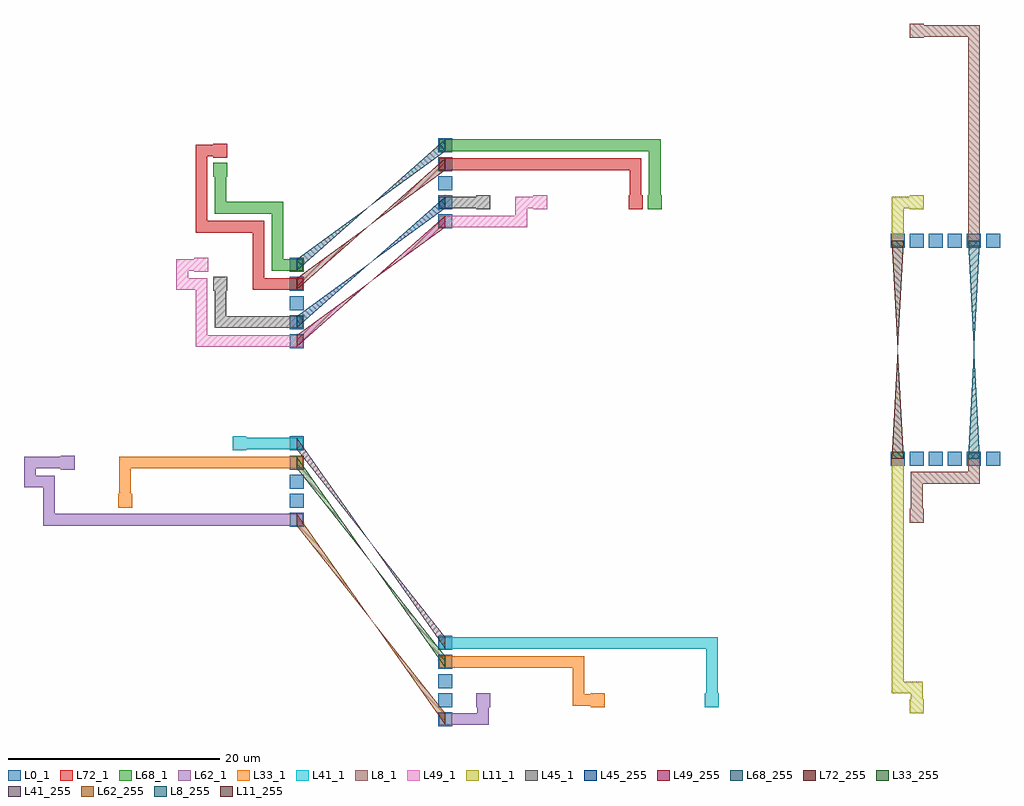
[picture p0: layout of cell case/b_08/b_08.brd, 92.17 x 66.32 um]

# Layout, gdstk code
import gdstk
lib = gdstk.Library(unit=1e-6, precision=2.5e-10)
def R(c, l, rs):  # rectangles x0, y0, x1, y1
    for r in rs: c.add(gdstk.rectangle(r[:2], r[2:], *l))
def A(c, l, x, y, w, h, nx, ny, dx, dy):  # array of equal rectangles
    R(c, l, [(x+i*dx, y+j*dy, x+i*dx+w, y+j*dy+h) for i in range(nx) for j in range(ny)])
def P(c, l, *ps):  # polygons
    for p in ps: c.add(gdstk.Polygon(p, *l))
L0_1 = (0, 1)
L8_1 = (8, 1)
L8_255 = (8, 255)
L11_1 = (11, 1)
L11_255 = (11, 255)
L33_1 = (33, 1)
L33_255 = (33, 255)
L41_1 = (41, 1)
L41_255 = (41, 255)
L45_1 = (45, 1)
L45_255 = (45, 255)
L49_1 = (49, 1)
L49_255 = (49, 255)
L62_1 = (62, 1)
L62_255 = (62, 255)
L68_1 = (68, 1)
L68_255 = (68, 255)
L72_1 = (72, 1)
L72_255 = (72, 255)

case_b_08_b_08_brd = lib.new_cell('case/b_08/b_08.brd')
R(case_b_08_b_08_brd, L0_1, [(382.811,215.92,384.131,217.24), (382.811,215.92,384.131,217.24), (382.811,215.92,384.131,217.24), (382.811,217.72,384.131,219.04), (382.811,217.72,384.131,219.04), (382.811,217.72,384.131,219.04), (382.811,219.52,384.131,220.84), (382.811,219.52,384.131,220.84), (382.811,219.52,384.131,220.84), (382.811,221.32,384.131,222.64), (382.811,221.32,384.131,222.64), (382.811,221.32,384.131,222.64), (382.811,223.12,384.131,224.44), (382.811,223.12,384.131,224.44), (382.811,223.12,384.131,224.44), (368.8,234.755,370.12,236.075), (368.8,234.755,370.12,236.075), (368.8,234.755,370.12,236.075), (368.8,236.555,370.12,237.875), (368.8,236.555,370.12,237.875), (368.8,236.555,370.12,237.875), (368.8,238.355,370.12,239.675), (368.8,238.355,370.12,239.675), (368.8,238.355,370.12,239.675), (368.8,240.155,370.12,241.475), (368.8,240.155,370.12,241.475), (368.8,240.155,370.12,241.475), (425.556,240.518,426.876,241.838), (425.556,240.518,426.876,241.838), (427.356,240.518,428.676,241.838), (427.356,240.518,428.676,241.838), (429.156,240.518,430.476,241.838), (429.156,240.518,430.476,241.838), (430.956,240.518,432.276,241.838), (430.956,240.518,432.276,241.838), (432.756,240.518,434.076,241.838), (432.756,240.518,434.076,241.838), (434.556,240.518,435.876,241.838), (434.556,240.518,435.876,241.838), (368.8,241.955,370.12,243.275), (368.8,241.955,370.12,243.275), (368.8,241.955,370.12,243.275), (368.8,251.616,370.12,252.936), (368.8,251.616,370.12,252.936), (368.8,251.616,370.12,252.936), (368.8,251.616,370.12,252.936), (368.8,253.416,370.12,254.736), (368.8,253.416,370.12,254.736), (368.8,253.416,370.12,254.736), (368.8,253.416,370.12,254.736), (368.8,255.216,370.12,256.536), (368.8,255.216,370.12,256.536), (368.8,255.216,370.12,256.536), (368.8,255.216,370.12,256.536), (368.8,257.016,370.12,258.336), (368.8,257.016,370.12,258.336), (368.8,257.016,370.12,258.336), (368.8,257.016,370.12,258.336), (368.8,258.816,370.12,260.136), (368.8,258.816,370.12,260.136), (368.8,258.816,370.12,260.136), (368.8,258.816,370.12,260.136), (425.556,261.12,426.876,262.44), (425.556,261.12,426.876,262.44), (427.356,261.12,428.676,262.44), (427.356,261.12,428.676,262.44), (429.156,261.12,430.476,262.44), (429.156,261.12,430.476,262.44), (430.956,261.12,432.276,262.44), (430.956,261.12,432.276,262.44), (432.756,261.12,434.076,262.44), (432.756,261.12,434.076,262.44), (434.556,261.12,435.876,262.44), (434.556,261.12,435.876,262.44), (382.811,262.92,384.131,264.24), (382.811,262.92,384.131,264.24), (382.811,262.92,384.131,264.24), (382.811,262.92,384.131,264.24), (382.811,264.72,384.131,266.04), (382.811,264.72,384.131,266.04), (382.811,264.72,384.131,266.04), (382.811,264.72,384.131,266.04), (382.811,266.52,384.131,267.84), (382.811,266.52,384.131,267.84), (382.811,266.52,384.131,267.84), (382.811,266.52,384.131,267.84), (382.811,268.32,384.131,269.64), (382.811,268.32,384.131,269.64), (382.811,268.32,384.131,269.64), (382.811,268.32,384.131,269.64), (382.811,270.12,384.131,271.44), (382.811,270.12,384.131,271.44), (382.811,270.12,384.131,271.44), (382.811,270.12,384.131,271.44)])
A(case_b_08_b_08_brd, L8_1, 427.466, 238.828, 2.9, 1.1, 3, 2, 1.8, 42.202)
A(case_b_08_b_08_brd, L8_1, 432.866, 261.23, 1.1, 2.9, 1, 11, 0, 1.8)
R(case_b_08_b_08_brd, L8_1, [(427.356,235.118,428.676,236.438), (427.466,235.228,428.566,238.128), (427.466,237.028,428.566,239.928), (432.866,238.828,433.966,241.728), (427.356,280.92,428.676,282.24)])
P(case_b_08_b_08_brd, L8_255, [(432.866,261.78),(433.966,261.78),(432.866,241.178),(433.966,241.178)])
A(case_b_08_b_08_brd, L11_1, 425.666, 219.028, 1.1, 2.9, 1, 12, 0, 1.8)
R(case_b_08_b_08_brd, L11_1, [(427.356,217.118,428.676,218.438), (427.466,217.228,428.566,220.128), (425.666,219.028,428.566,220.128), (425.666,261.23,426.766,264.13), (425.666,263.03,426.766,265.93), (427.356,264.72,428.676,266.04), (425.666,264.83,428.566,265.93)])
P(case_b_08_b_08_brd, L11_255, [(425.666,261.78),(426.766,261.78),(425.666,241.178),(426.766,241.178)])
A(case_b_08_b_08_brd, L33_1, 382.921, 221.43, 2.9, 1.1, 7, 1, 1.8, 0)
A(case_b_08_b_08_brd, L33_1, 352.71, 240.265, 2.9, 1.1, 9, 1, 1.8, 0)
R(case_b_08_b_08_brd, L33_1, [(397.211,217.72,398.531,219.04), (395.521,217.83,398.421,218.93), (395.521,217.83,396.621,220.73), (395.521,219.63,396.621,222.53), (352.6,236.555,353.92,237.875), (352.71,236.665,353.81,239.565), (352.71,238.465,353.81,241.365)])
P(case_b_08_b_08_brd, L33_255, [(383.471,221.43),(383.471,222.53),(369.46,240.265),(369.46,241.365)])
A(case_b_08_b_08_brd, L41_1, 408.121, 217.83, 1.1, 2.9, 1, 3, 0, 1.8)
A(case_b_08_b_08_brd, L41_1, 382.921, 223.23, 2.9, 1.1, 14, 1, 1.8, 0)
A(case_b_08_b_08_brd, L41_1, 363.51, 242.065, 2.9, 1.1, 3, 1, 1.8, 0)
R(case_b_08_b_08_brd, L41_1, [(408.011,217.72,409.331,219.04), (363.4,241.955,364.72,243.275)])
P(case_b_08_b_08_brd, L41_255, [(383.471,223.23),(383.471,224.33),(369.46,242.065),(369.46,243.165)])
A(case_b_08_b_08_brd, L45_1, 361.71, 253.526, 2.9, 1.1, 4, 1, 1.8, 0)
R(case_b_08_b_08_brd, L45_1, [(361.71,253.526,362.81,256.426), (361.71,255.326,362.81,258.226), (361.6,257.016,362.92,258.336), (386.411,264.72,387.731,266.04), (382.921,264.83,385.821,265.93), (384.721,264.83,387.621,265.93)])
P(case_b_08_b_08_brd, L45_255, [(383.471,264.83),(383.471,265.93),(369.46,253.526),(369.46,254.626)])
A(case_b_08_b_08_brd, L49_1, 359.91, 251.726, 2.9, 1.1, 5, 1, 1.8, 0)
A(case_b_08_b_08_brd, L49_1, 359.91, 251.726, 1.1, 2.9, 1, 3, 0, 1.8)
A(case_b_08_b_08_brd, L49_1, 382.921, 263.03, 2.9, 1.1, 4, 1, 1.8, 0)
R(case_b_08_b_08_brd, L49_1, [(358.11,257.126,361.01,258.226), (358.11,257.126,359.21,260.026), (359.8,258.816,361.12,260.136), (358.11,258.926,361.01,260.026), (390.121,263.03,391.221,265.93), (391.811,264.72,393.131,266.04), (390.121,264.83,393.021,265.93)])
P(case_b_08_b_08_brd, L49_255, [(383.471,263.03),(383.471,264.13),(369.46,251.726),(369.46,252.826)])
A(case_b_08_b_08_brd, L62_1, 345.51, 234.865, 2.9, 1.1, 13, 1, 1.8, 0)
R(case_b_08_b_08_brd, L62_1, [(382.921,216.03,385.821,217.13), (384.721,216.03,387.621,217.13), (386.521,216.03,387.621,218.93), (386.411,217.72,387.731,219.04), (345.51,234.865,346.61,237.765), (345.51,236.665,346.61,239.565), (343.71,238.465,346.61,239.565), (343.71,238.465,344.81,241.365), (347.2,240.155,348.52,241.475), (343.71,240.265,346.61,241.365), (345.51,240.265,348.41,241.365)])
P(case_b_08_b_08_brd, L62_255, [(383.471,216.03),(383.471,217.13),(369.46,234.865),(369.46,235.965)])
A(case_b_08_b_08_brd, L68_1, 367.11, 258.926, 1.1, 2.9, 1, 3, 0, 1.8)
A(case_b_08_b_08_brd, L68_1, 361.71, 264.326, 2.9, 1.1, 3, 1, 1.8, 0)
A(case_b_08_b_08_brd, L68_1, 402.721, 264.83, 1.1, 2.9, 1, 3, 0, 1.8)
A(case_b_08_b_08_brd, L68_1, 382.921, 270.23, 2.9, 1.1, 11, 1, 1.8, 0)
R(case_b_08_b_08_brd, L68_1, [(367.11,258.926,370.01,260.026), (361.71,264.326,362.81,267.226), (402.611,264.72,403.931,266.04), (361.71,266.126,362.81,269.026), (361.6,267.816,362.92,269.136)])
P(case_b_08_b_08_brd, L68_255, [(383.471,270.23),(383.471,271.33),(369.46,258.926),(369.46,260.026)])
A(case_b_08_b_08_brd, L72_1, 365.31, 257.126, 1.1, 2.9, 1, 3, 0, 1.8)
A(case_b_08_b_08_brd, L72_1, 359.91, 262.526, 2.9, 1.1, 3, 1, 1.8, 0)
A(case_b_08_b_08_brd, L72_1, 359.91, 262.526, 1.1, 2.9, 1, 4, 0, 1.8)
A(case_b_08_b_08_brd, L72_1, 382.921, 268.43, 2.9, 1.1, 10, 1, 1.8, 0)
R(case_b_08_b_08_brd, L72_1, [(365.31,257.126,368.21,258.226), (367.11,257.126,370.01,258.226), (400.811,264.72,402.131,266.04), (400.921,264.83,402.021,267.73), (400.921,266.63,402.021,269.53), (361.6,269.616,362.92,270.936), (359.91,269.726,362.81,270.826)])
P(case_b_08_b_08_brd, L72_255, [(383.471,268.43),(383.471,269.53),(369.46,257.126),(369.46,258.226)])

lib.write_gds('case_b_08_b_08.brd.gds')
